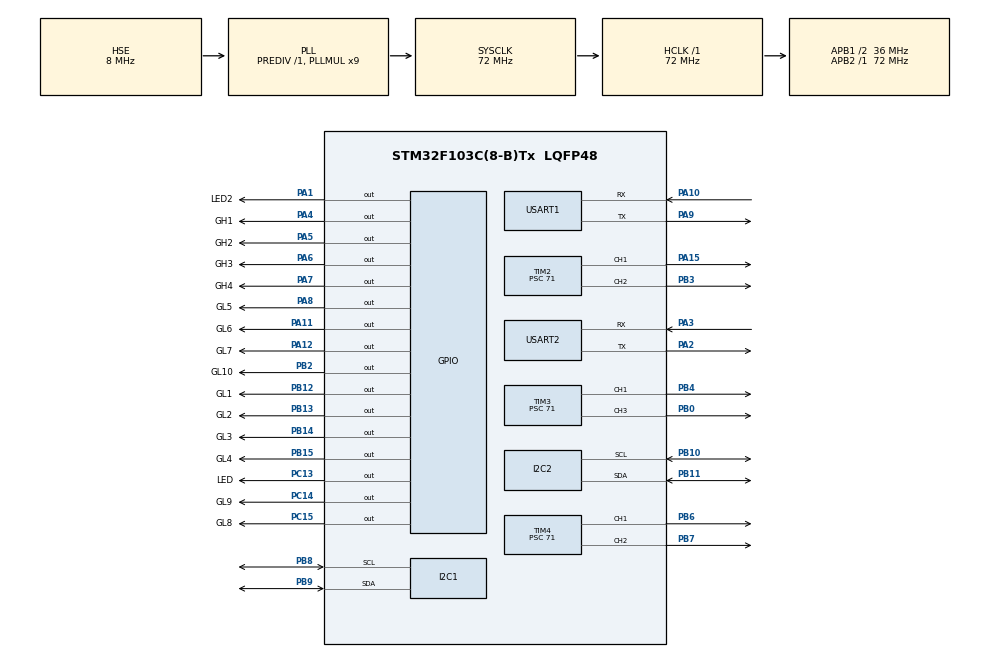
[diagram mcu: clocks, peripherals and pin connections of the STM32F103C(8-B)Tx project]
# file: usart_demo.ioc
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I2C1.I2C_Mode=I2C_Fast
I2C2.I2C_Mode=I2C_Fast
Mcu.Family=STM32F1
Mcu.Name=STM32F103C(8-B)Tx
Mcu.Package=LQFP48
NVIC.PriorityGroup=NVIC_PRIORITYGROUP_4
NVIC.TIM2_IRQn=true\:0\:0\:false\:false\:true\:true\:true\:true
NVIC.TIM3_IRQn=true\:0\:0\:false\:false\:true\:true\:true\:true
NVIC.TIM4_IRQn=true\:0\:0\:false\:false\:true\:true\:true\:true
NVIC.USART1_IRQn=true\:0\:0\:false\:false\:true\:true\:true\:true
NVIC.USART2_IRQn=true\:0\:0\:false\:false\:true\:true\:true\:true
PA1.GPIO_Label=LED2
PA1.Signal=GPIO_Output
PA10.Mode=Asynchronous
PA10.Signal=USART1_RX
PA11.GPIO_Label=GL6
PA11.Signal=GPIO_Output
PA12.GPIO_Label=GL7
PA12.Signal=GPIO_Output
PA13.Mode=Serial_Wire
PA13.Signal=SYS_JTMS-SWDIO
PA14.Mode=Serial_Wire
PA14.Signal=SYS_JTCK-SWCLK
PA15.Signal=S_TIM2_CH1_ETR
PA2.Mode=Asynchronous
PA2.Signal=USART2_TX
PA3.Mode=Asynchronous
PA3.Signal=USART2_RX
PA4.GPIO_Label=GH1
PA4.PinState=GPIO_PIN_SET
PA4.Signal=GPIO_Output
PA5.GPIO_Label=GH2
PA5.PinState=GPIO_PIN_SET
PA5.Signal=GPIO_Output
PA6.GPIO_Label=GH3
PA6.PinState=GPIO_PIN_SET
PA6.Signal=GPIO_Output
PA7.GPIO_Label=GH4
PA7.Signal=GPIO_Output
PA8.GPIO_Label=GL5
PA8.Signal=GPIO_Output
PA9.Mode=Asynchronous
PA9.Signal=USART1_TX
PB0.Signal=S_TIM3_CH3
PB10.Mode=I2C
PB10.Signal=I2C2_SCL
PB11.Mode=I2C
PB11.Signal=I2C2_SDA
PB12.GPIO_Label=GL1
PB12.Signal=GPIO_Output
PB13.GPIO_Label=GL2
PB13.Signal=GPIO_Output
PB14.GPIO_Label=GL3
PB14.Signal=GPIO_Output
PB15.GPIO_Label=GL4
PB15.Signal=GPIO_Output
PB2.GPIO_Label=GL10
PB2.Signal=GPIO_Output
PB3.Signal=S_TIM2_CH2
PB4.Signal=S_TIM3_CH1
PB6.Signal=S_TIM4_CH1
PB7.Signal=S_TIM4_CH2
PB8.Mode=I2C
PB8.Signal=I2C1_SCL
PB9.Mode=I2C
PB9.Signal=I2C1_SDA
PC13-TAMPER-RTC.GPIO_Label=LED
PC13-TAMPER-RTC.Signal=GPIO_Output
PC14-OSC32_IN.GPIO_Label=GL9
PC14-OSC32_IN.Signal=GPIO_Output
PC15-OSC32_OUT.GPIO_Label=GL8
PC15-OSC32_OUT.Signal=GPIO_Output
PD0-OSC_IN.Mode=HSE-External-Oscillator
PD0-OSC_IN.Signal=RCC_OSC_IN
PD1-OSC_OUT.Mode=HSE-External-Oscillator
PD1-OSC_OUT.Signal=RCC_OSC_OUT
ProjectManager.HeapSize=0x200
ProjectManager.StackSize=0x400
ProjectManager.TargetToolchain=MDK-ARM V5.32
RCC.AHBFreq_Value=72000000
RCC.APB1CLKDivider=RCC_HCLK_DIV2
RCC.APB1Freq_Value=36000000
RCC.APB1TimFreq_Value=72000000
RCC.APB2Freq_Value=72000000
RCC.APB2TimFreq_Value=72000000
RCC.HCLKFreq_Value=72000000
RCC.PLLMUL=RCC_PLL_MUL9
RCC.PLLSourceVirtual=RCC_PLLSOURCE_HSE
RCC.SYSCLKFreq_VALUE=72000000
RCC.SYSCLKSource=RCC_SYSCLKSOURCE_PLLCLK
RCC.USBFreq_Value=48000000
RCC.USBPrescaler=RCC_USBCLKSOURCE_PLL_DIV1_5
SH.S_TIM2_CH1_ETR.0=TIM2_CH1,PWM Generation1 CH1
SH.S_TIM2_CH2.0=TIM2_CH2,PWM Generation2 CH2
SH.S_TIM3_CH1.0=TIM3_CH1,PWM Generation1 CH1
SH.S_TIM3_CH3.0=TIM3_CH3,PWM Generation3 CH3
SH.S_TIM4_CH1.0=TIM4_CH1,PWM Generation1 CH1
SH.S_TIM4_CH2.0=TIM4_CH2,PWM Generation2 CH2
TIM2.Channel-PWM\ Generation1\ CH1=TIM_CHANNEL_1
TIM2.Channel-PWM\ Generation2\ CH2=TIM_CHANNEL_2
TIM2.OCMode_PWM-PWM\ Generation2\ CH2=TIM_OCMODE_PWM1
TIM2.Period=499
TIM2.Prescaler=71
TIM3.Channel-PWM\ Generation1\ CH1=TIM_CHANNEL_1
TIM3.Channel-PWM\ Generation3\ CH3=TIM_CHANNEL_3
TIM3.Period=499
TIM3.Prescaler=71
TIM4.Channel-PWM\ Generation1\ CH1=TIM_CHANNEL_1
TIM4.Channel-PWM\ Generation2\ CH2=TIM_CHANNEL_2
TIM4.OCMode_PWM-PWM\ Generation2\ CH2=TIM_OCMODE_PWM1
TIM4.Period=499
TIM4.Prescaler=71
USART1.VirtualMode=VM_ASYNC
USART2.VirtualMode=VM_ASYNC
VP_TIM2_VS_ClockSourceINT.Mode=Internal
VP_TIM3_VS_ClockSourceINT.Mode=Internal
VP_TIM4_VS_ClockSourceINT.Mode=Internal
board=custom

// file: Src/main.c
/* USER CODE BEGIN Header */
/**
  ******************************************************************************
  * @file           : main.c
  * @brief          : Main program body
  ******************************************************************************
  * @attention
  *
  * Copyright (c) 2024 STMicroelectronics.
  * All rights reserved.
  *
  * This software is licensed under terms that can be found in the LICENSE file
  * in the root directory of this software component.
  * If no LICENSE file comes with this software, it is provided AS-IS.
  *
  ******************************************************************************
  */
/* USER CODE END Header */
#include "main.h"
#include "i2c.h"
#include "tim.h"
#include "usart.h"
#include "gpio.h"

/* USER CODE BEGIN Includes */
#include "stdio.h"
#include "string.h"
#include "stdarg.h"
//#include "mpu6050.h"
#include "driver_ms5837_basic.h"
#include "mpu6050/driver_mpu6050_basic.h"
#include "mpu6050/driver_mpu6050_dmp.h"
/* USER CODE END Includes */

/* USER CODE BEGIN PD */
#define ENDLINE_CHAR ';'
#define LOOP_TIME 5
#define LOOP_TIME2 5
/* USER CODE END PD */

void SystemClock_Config(void);
/* USER CODE BEGIN PFP */
void sendPiMessage(const char* fmt, ...);
void sendLoraMessage(const char* fmt, ...);
void solve_Command(char* rec_msg);
void processMsg(char* msg, char* streamingMsg);
void HAL_UART_RxCpltCallback(UART_HandleTypeDef*UartHandle);
/* USER CODE END PFP */

/* USER CODE BEGIN 0 */

uint16_t pwm_val = 50;	// 初始转速
uint16_t pwm_val_arr[6] = {50,50,50,50,50,50};
uint8_t lora_rec[50] = {""};
uint8_t pi_rec[50] = {""};
uint8_t lora_buff[1];
uint8_t pi_buff[1];
int RxLine = 0;
int sendToLora = 0;
uint8_t read_pressure = 0;
extern float pressure;
uint8_t start = 0;	// start=0时不能获取motion和pressure

// mpu6050
uint8_t res;
uint32_t i;
uint32_t times;
float g[3];
float dps[3];
int16_t acc_buff[3];
int16_t gyro_buff[3];
int32_t q[4];
float pitch;
float roll;
float yaw;
uint16_t l;
float degrees;
mpu6050_address_t addr;
uint8_t read_motion = 0;
uint8_t read_motion_dmp = 0;

/* USER CODE END 0 */

int main(void)
{

  /* MCU Configuration--------------------------------------------------------*/

  /* Reset of all peripherals, Initializes the Flash interface and the Systick. */
  HAL_Init();

  /* Configure the system clock */
  SystemClock_Config();

  /* Initialize all configured peripherals */
  MX_GPIO_Init();
  MX_USART1_UART_Init();
  MX_I2C2_Init();
  MX_USART2_UART_Init();
  MX_TIM4_Init();
  MX_TIM3_Init();
  MX_I2C1_Init();
  MX_TIM2_Init();
  /* USER CODE BEGIN 2 */
	// PWM
	HAL_TIM_PWM_Start(&htim4,TIM_CHANNEL_1);
	HAL_TIM_PWM_Start(&htim4,TIM_CHANNEL_2);
	HAL_TIM_PWM_Start(&htim3,TIM_CHANNEL_1);
	HAL_TIM_PWM_Start(&htim3,TIM_CHANNEL_3);
	HAL_TIM_PWM_Start(&htim2,TIM_CHANNEL_1);
	HAL_TIM_PWM_Start(&htim2,TIM_CHANNEL_2);
	__HAL_TIM_SetCompare(&htim4, TIM_CHANNEL_1, pwm_val);
	__HAL_TIM_SetCompare(&htim4, TIM_CHANNEL_2, pwm_val);
	__HAL_TIM_SetCompare(&htim3, TIM_CHANNEL_1, pwm_val);
	__HAL_TIM_SetCompare(&htim3, TIM_CHANNEL_3, pwm_val);
	__HAL_TIM_SetCompare(&htim2, TIM_CHANNEL_1, pwm_val);
	__HAL_TIM_SetCompare(&htim2, TIM_CHANNEL_2, pwm_val);

  /* USER CODE END 2 */

  /* Infinite loop */
  /* USER CODE BEGIN WHILE */

	// MPU6050初始化
	addr = MPU6050_ADDRESS_AD0_LOW;
	res = mpu6050_basic_init(addr);
	if (res != 0)
	{
    sendPiMessage("MPU6050 Not Find");
	}else{
		sendPiMessage("find mpu6050");

	}

	// LED初始亮灭
	HAL_GPIO_WritePin(LED2_GPIO_Port, LED2_Pin, GPIO_PIN_SET);
	HAL_GPIO_WritePin(LED_GPIO_Port, LED_Pin, GPIO_PIN_SET);
	uint8_t led1_count = 0;

	// 初始化接收消息中断
	HAL_UART_Receive_IT(&huart2, (uint8_t *)lora_buff, 1);
	HAL_UART_Receive_IT(&huart1, (uint8_t *)pi_buff, 1);

	// 初始化压力传感器
	uint8_t res;
	uint32_t i;
	uint32_t times;
	res = ms5837_basic_init(MS5837_TYPE_02BA21);
	if(res == 0){
		sendPiMessage("find ms5837");
	}else{
		sendPiMessage("failed to find ms5837");
	}
	start=1;
  while (1)
  {
		// 调试的LED

		led1_count++;
		if(led1_count > 50){
			HAL_GPIO_TogglePin(LED_GPIO_Port, LED_Pin);
			led1_count = 0;
		}

		if(read_pressure == 1){
			// 获取压力
			float temperature_c = -1;
			float pressure_mbar;
			uint8_t res;
    /* read data */
			res = ms5837_basic_read(&temperature_c, &pressure_mbar);
			if(res == 0){
				sendPiMessage("data pressure %f", pressure_mbar);
			}else{
				sendPiMessage("error Failed to Read Pressure: Unknown error");
			}
			read_pressure = 0;
		}

		if(read_motion == 1){
			if(mpu6050_basic_read(g, dps)==0){
				sendPiMessage("data motion %f %f %f %f %f %f", g[0], g[1], g[2], dps[0], dps[1], dps[2]);
			}else{
				sendPiMessage("error Failed to Read Motion: Unknown error");
			}
			read_motion = 0;
		}
		if(read_motion_dmp == 1){
			if(mpu6050_dmp_read_all(&acc_buff, &g, &gyro_buff, &dps, &q, &pitch, &roll, &yaw, &l)){
				sendPiMessage("data motion %f %f %f", pitch, roll, yaw);
			}else{
				sendPiMessage("error Failed to Read Motion: Unknown error");
			}
			read_motion_dmp = 0;
		}
		HAL_Delay(10);
		//uint8_t rec[50] = {""};
		//HAL_UART_Receive(&huart1,rec, 50, LOOP_TIME);

		//processMsg(pi_rec, (char*)rec);	// 执行指令

		//sendLoraMessage("hello lora");
		// 接收lora的指令
		//uint8_t rec2[50] = {""};
		//HAL_UART_Receive(&huart2,rec2, 50, LOOP_TIME2);
		//processMsg(lora_rec, (char*)rec2);

    /* USER CODE END WHILE */

  }
}

void SystemClock_Config(void)
{
  RCC_OscInitTypeDef RCC_OscInitStruct = {0};
  RCC_ClkInitTypeDef RCC_ClkInitStruct = {0};

  /** Initializes the RCC Oscillators according to the specified parameters
  * in the RCC_OscInitTypeDef structure.
  */
  RCC_OscInitStruct.OscillatorType = RCC_OSCILLATORTYPE_HSE;
  RCC_OscInitStruct.HSEState = RCC_HSE_ON;
  RCC_OscInitStruct.HSEPredivValue = RCC_HSE_PREDIV_DIV1;
  RCC_OscInitStruct.HSIState = RCC_HSI_ON;
  RCC_OscInitStruct.PLL.PLLState = RCC_PLL_ON;
  RCC_OscInitStruct.PLL.PLLSource = RCC_PLLSOURCE_HSE;
  RCC_OscInitStruct.PLL.PLLMUL = RCC_PLL_MUL9;
  if (HAL_RCC_OscConfig(&RCC_OscInitStruct) != HAL_OK)
  {
    Error_Handler();
  }

  /** Initializes the CPU, AHB and APB buses clocks
  */
  RCC_ClkInitStruct.ClockType = RCC_CLOCKTYPE_HCLK|RCC_CLOCKTYPE_SYSCLK
                              |RCC_CLOCKTYPE_PCLK1|RCC_CLOCKTYPE_PCLK2;
  RCC_ClkInitStruct.SYSCLKSource = RCC_SYSCLKSOURCE_PLLCLK;
  RCC_ClkInitStruct.AHBCLKDivider = RCC_SYSCLK_DIV1;
  RCC_ClkInitStruct.APB1CLKDivider = RCC_HCLK_DIV2;
  RCC_ClkInitStruct.APB2CLKDivider = RCC_HCLK_DIV1;

  if (HAL_RCC_ClockConfig(&RCC_ClkInitStruct, FLASH_LATENCY_2) != HAL_OK)
  {
    Error_Handler();
  }
}

/* USER CODE BEGIN 4 */
// 读取消息的中断
void HAL_UART_RxCpltCallback(UART_HandleTypeDef*UartHandle)
{
		if(UartHandle == &huart2){
			if(lora_buff[0]==ENDLINE_CHAR)            //接收结束标志位，这个数据可以自定义，根据实际需求，这里只做示例使用，不一定是0xff
			{
				sendToLora = 1;
				solve_Command((char*)lora_rec);
				sendToLora = 0;
				memset(lora_rec,0,sizeof(lora_rec));  //清空缓存数组
				RxLine=0;  //清空接收长度
			}else{
				RxLine++;                      //每接收到一个数据，进入回调数据长度加1
				lora_rec[RxLine-1]=lora_buff[0];  //把每次接收到的数据保存到缓存数组
			}

			lora_buff[0]=0;
			HAL_UART_Receive_IT(&huart2, (uint8_t *)lora_buff, 1); //每接收一个数据，就打开一次串口中断接收，否则只会接收一个数据就停止接收
		}else if(UartHandle == &huart1){
			// pi message
			if(pi_buff[0]==ENDLINE_CHAR)            //接收结束标志位，这个数据可以自定义，根据实际需求，这里只做示例使用，不一定是0xff
			{
				solve_Command((char*)pi_rec);
				memset(pi_rec,0,sizeof(pi_rec));  //清空缓存数组
				RxLine=0;  //清空接收长度
			}else{
				RxLine++;                      //每接收到一个数据，进入回调数据长度加1
				pi_rec[RxLine-1]=pi_buff[0];  //把每次接收到的数据保存到缓存数组
			}

			pi_buff[0]=0;
			HAL_UART_Receive_IT(&huart1, (uint8_t *)pi_buff, 1); //每接收一个数据，就打开一次串口中断接收，否则只会接收一个数据就停止接收
		}

}
void sendPiMessage(const char* fmt, ...){
	va_list args;
	char fmt2[102] = {""};
	char send_msg[102] = {""};
	strcpy(fmt2, fmt);
	strcat(fmt2, "\r\n");
	va_start(args, fmt);
	vsprintf(send_msg, fmt2, args);
	va_end(args);
	HAL_UART_Transmit(&huart1, (uint8_t*)send_msg, strlen(send_msg), 50);
	if(sendToLora == 1){
		HAL_UART_Transmit(&huart2, (uint8_t*)send_msg, strlen(send_msg), 50);
	}
}
void sendLoraMessage(const char* fmt, ...){
	va_list args;
	char fmt2[52] = {""};
	char send_msg[102] = {""};
	strcpy(fmt2, fmt);
	strcat(fmt2, "\r\n");
	va_start(args, fmt);
	vsprintf(send_msg, fmt2, args);
	va_end(args);
	HAL_UART_Transmit(&huart2, (uint8_t*)send_msg, strlen(send_msg), 50);
}
void processMsg(char* msg, char* streamingMsg)
{
		if(strlen(streamingMsg) == 0){
			return;
		}
    strcat(msg, streamingMsg);
    int i = 0;
    for (;i<strlen(msg);i++)
    {
        if (msg[i] == ENDLINE_CHAR)
        {
            char command[50] = {""};
            strncpy(command, msg, i);
            solve_Command(command);
            if (i == strlen(msg)-1)
            {
                memset(msg, 0, sizeof(*msg));
            }else
            {
                strcpy(msg, &msg[i+1]);
                break;
            }

        }
    }

}
void solve_Command(char* rec_msg){
		if(start==0){
			sendPiMessage("error Excute Command Error: System starting");
			return;
		}
		char rec_msg_copy[50] = {""};
		strcpy(rec_msg_copy, rec_msg);

		// 指令分发
		char* command;
		const char split_token[1] = " ";
		command = strtok(rec_msg, split_token);
		char ret_msg[100];
		if(!strcmp(command, "led")){
			// 控制led灯
			char* status = strtok(NULL, split_token);
			if(!strncmp(status, "on", 2)){
				strcpy(ret_msg, "ret_msg led on");
				HAL_GPIO_WritePin(LED2_GPIO_Port, LED2_Pin, GPIO_PIN_RESET);
			}else{
				strcpy(ret_msg, "ret_msg led off");
				HAL_GPIO_WritePin(LED2_GPIO_Port, LED2_Pin, GPIO_PIN_SET);
			}
			sendPiMessage(ret_msg);
		}else if(!strcmp(command, "motion")){
			// 获取加速度和角速度
			read_motion = 1;
		}else if(!strcmp(command, "motion_dmp")){
			read_motion_dmp = 1;
		}else if(!strcmp(command, "pwm")){
			char* command_split= strtok(NULL, split_token);
			if(!strncmp(command_split, "set", 3)){
				// 如果是设置电机
				int tim_channel_n = 0;
				int pwm_val2 = 50;
				sscanf(rec_msg_copy, "pwm set %d %d", &tim_channel_n, &pwm_val2);
				if(pwm_val2 >= 0 && pwm_val2 < 500 && tim_channel_n >= 0 && tim_channel_n < 6){
					pwm_val_arr[tim_channel_n] = pwm_val2;
					pwm_val = (uint16_t) pwm_val2;

					switch(tim_channel_n){
						case 0:
							__HAL_TIM_SetCompare(&htim2, TIM_CHANNEL_1, pwm_val);
							break;
						case 1:
							__HAL_TIM_SetCompare(&htim2, TIM_CHANNEL_2, pwm_val);
							break;
						case 2:
							__HAL_TIM_SetCompare(&htim3, TIM_CHANNEL_1, pwm_val);
							break;
						case 3:
							__HAL_TIM_SetCompare(&htim3, TIM_CHANNEL_3, pwm_val);
							break;
						case 4:
							__HAL_TIM_SetCompare(&htim4, TIM_CHANNEL_1, pwm_val);
							break;
						case 5:
							__HAL_TIM_SetCompare(&htim4, TIM_CHANNEL_2, pwm_val);
							break;
						default:
							break;
					}
					sprintf(ret_msg, "ret_msg pwm %d, %d", tim_channel_n, pwm_val);
					sendPiMessage(ret_msg);
				}else{
					// 设置电机的参数不合法
					sendPiMessage("error Setting PWM Error: illegal parameter");
				}
			}else{
				// 获取电机占空比
				sprintf(ret_msg, "data pwm %d %d %d %d %d %d", pwm_val_arr[0], pwm_val_arr[1], pwm_val_arr[2], pwm_val_arr[3], pwm_val_arr[4], pwm_val_arr[5]);
				sendPiMessage(ret_msg);
			}
		}else if(!strcmp(command, "lora")){
			// 向lora传消息
			sendLoraMessage(rec_msg_copy);
			sendPiMessage("ret_msg lora msg sent");
		}else if(!strcmp(command, "pressure")){
			// 获取压力
			// 在中断里使用莫名会卡住，读取部分放在主函数里
				read_pressure = 1;

		}else{
			strcpy(ret_msg, "error Unknown Message: ");
			strcat(ret_msg, rec_msg);
			sendPiMessage(ret_msg);
		}

}
/* USER CODE END 4 */

void Error_Handler(void)
{
  __disable_irq();
  while (1)
  {
  }
}
